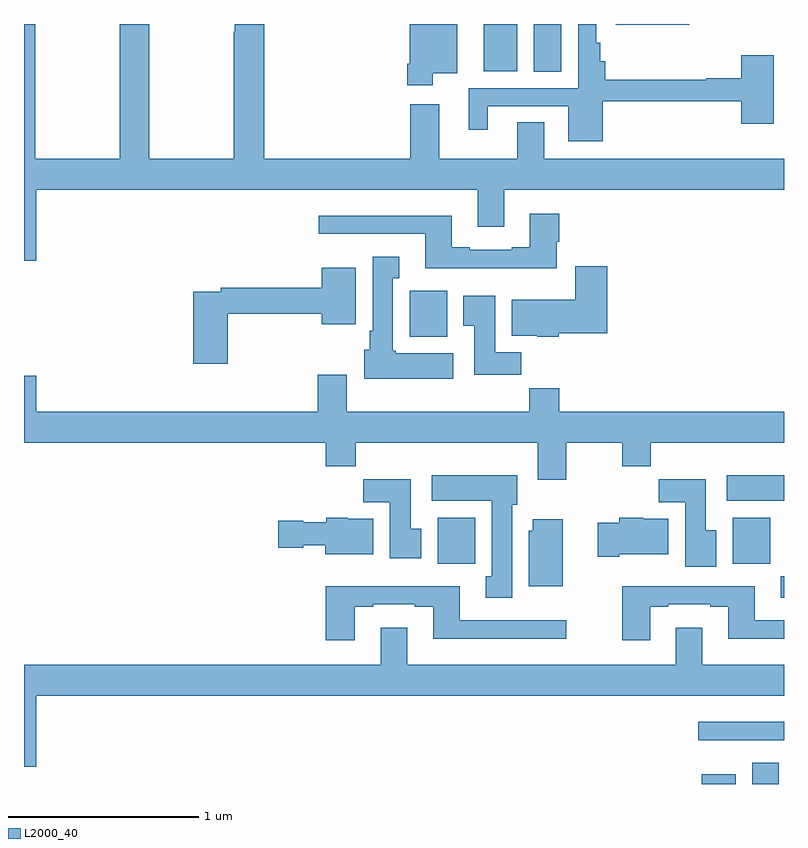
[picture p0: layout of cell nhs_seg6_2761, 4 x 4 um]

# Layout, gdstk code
import gdstk
lib = gdstk.Library(unit=1e-6, precision=1e-09)
def R(c, l, rs):  # rectangles x0, y0, x1, y1
    for r in rs: c.add(gdstk.rectangle(r[:2], r[2:], *l))
def P(c, l, *ps):  # polygons
    for p in ps: c.add(gdstk.Polygon(p, *l))
L2000_40 = (2000, 40)

nhs_seg6_2761 = lib.new_cell('nhs_seg6_2761')
R(nhs_seg6_2761, L2000_40, [(276.566,985.5,276.745,985.552), (276.833,985.5,276.973,985.612), (276.549,985.731,277,985.828), (276.983,986.481,277,986.594), (275.177,986.66,275.374,986.902), (276.731,986.66,276.928,986.902), (276.699,986.99,277,987.124), (275.03,987.854,275.227,988.096), (275.684,989.248,275.827,989.5), (275.42,989.252,275.596,989.5), (276.114,989.495,276.502,989.5)])
P(nhs_seg6_2761, L2000_40, [(273.064,988.628),(275.387,988.628),(275.387,988.434),(275.527,988.434),(275.527,988.628),(277,988.628),(277,988.792),(275.737,988.792),(275.737,988.982),(275.597,988.982),(275.597,988.792),(275.185,988.792),(275.185,989.077),(275.033,989.077),(275.033,988.792),(274.265,988.792),(274.265,989.5),(274.109,989.5),(274.109,989.459),(274.105,989.459),(274.105,988.792),(273.66,988.792),(273.66,989.5),(273.505,989.5),(273.505,988.792),(273.06,988.792),(273.06,989.5),(273,989.5),(273,988.254),(273.064,988.254)],
  [(275.152,989.24),(275.281,989.24),(275.281,989.5),(275.03,989.5),(275.03,989.29),(275.018,989.29),(275.018,989.178),(275.152,989.178)],
  [(276.046,989.094),(276.776,989.094),(276.776,988.974),(276.946,988.974),(276.946,989.222),(276.945,989.222),(276.945,989.335),(276.776,989.335),(276.776,989.215),(276.592,989.215),(276.592,989.207),(276.059,989.207),(276.059,989.305),(276.032,989.305),(276.032,989.401),(276.012,989.401),(276.012,989.5),(275.916,989.5),(275.916,989.163),(275.342,989.163),(275.342,988.944),(275.44,988.944),(275.44,989.067),(275.864,989.067),(275.864,988.883),(276.046,988.883)],
  [(275.803,988.353),(275.816,988.353),(275.816,988.501),(275.663,988.501),(275.663,988.324),(275.567,988.324),(275.567,988.311),(275.347,988.311),(275.347,988.324),(275.251,988.324),(275.251,988.492),(274.551,988.492),(274.551,988.395),(275.111,988.395),(275.111,988.214),(275.803,988.214)],
  [(275.26,987.766),(274.956,987.766),(274.956,987.78),(274.942,987.78),(274.942,988.163),(274.975,988.163),(274.975,988.276),(274.835,988.276),(274.835,987.886),(274.82,987.886),(274.82,987.786),(274.79,987.786),(274.79,987.632),(275.26,987.632)],
  [(275.814,987.872),(276.071,987.872),(276.071,988.225),(275.9,988.225),(275.9,988.048),(275.567,988.048),(275.567,987.86),(275.7,987.86),(275.7,987.854),(275.814,987.854)],
  [(274.073,987.976),(274.568,987.976),(274.568,987.92),(274.747,987.92),(274.747,988.216),(274.568,988.216),(274.568,988.112),(274.036,988.112),(274.036,988.092),(273.89,988.092),(273.89,987.711),(274.073,987.711)],
  [(275.618,987.772),(275.479,987.772),(275.479,988.069),(275.312,988.069),(275.312,987.913),(275.369,987.913),(275.369,987.654),(275.618,987.654)],
  [(275.853,987.296),(276.148,987.296),(276.148,987.172),(276.299,987.172),(276.299,987.296),(277,987.296),(277,987.46),(275.816,987.46),(275.816,987.584),(275.659,987.584),(275.659,987.46),(274.699,987.46),(274.699,987.655),(274.547,987.655),(274.547,987.46),(273.064,987.46),(273.064,987.649),(273,987.649),(273,987.296),(274.589,987.296),(274.589,987.172),(274.745,987.172),(274.745,987.296),(275.705,987.296),(275.705,987.102),(275.853,987.102)],
  [(275.569,986.97),(275.596,986.97),(275.596,987.124),(275.145,987.124),(275.145,986.99),(275.462,986.99),(275.462,986.594),(275.429,986.594),(275.429,986.481),(275.569,986.481)],
  [(275.092,986.844),(275.035,986.844),(275.035,987.103),(274.786,987.103),(274.786,986.984),(274.925,986.984),(274.925,986.688),(275.092,986.688)],
  [(276.643,986.836),(276.589,986.836),(276.589,987.103),(276.34,987.103),(276.34,986.984),(276.479,986.984),(276.479,986.643),(276.643,986.643)],
  [(276.133,986.708),(276.391,986.708),(276.391,986.896),(276.258,986.896),(276.258,986.902),(276.133,986.902),(276.133,986.874),(276.021,986.874),(276.021,986.696),(276.133,986.696)],
  [(274.837,986.896),(274.704,986.896),(274.704,986.902),(274.59,986.902),(274.59,986.878),(274.47,986.878),(274.47,986.886),(274.338,986.886),(274.338,986.744),(274.47,986.744),(274.47,986.756),(274.586,986.756),(274.586,986.708),(274.837,986.708)],
  [(275.836,986.893),(275.678,986.893),(275.678,986.832),(275.657,986.832),(275.657,986.54),(275.836,986.54)],
  [(274.741,986.433),(274.837,986.433),(274.837,986.445),(275.057,986.445),(275.057,986.433),(275.153,986.433),(275.153,986.264),(275.854,986.264),(275.854,986.361),(275.293,986.361),(275.293,986.542),(274.589,986.542),(274.589,986.256),(274.741,986.256)],
  [(276.295,986.433),(276.391,986.433),(276.391,986.445),(276.611,986.445),(276.611,986.433),(276.707,986.433),(276.707,986.264),(277,986.264),(277,986.361),(276.847,986.361),(276.847,986.541),(276.383,986.541),(276.383,986.542),(276.148,986.542),(276.148,986.256),(276.295,986.256)],
  [(273.064,985.964),(277,985.964),(277,986.128),(276.571,986.128),(276.571,986.323),(276.431,986.323),(276.431,986.128),(275.017,986.128),(275.017,986.323),(274.877,986.323),(274.877,986.128),(273,986.128),(273,985.59),(273.064,985.59)])

lib.write_gds('nhs_seg6_2761.gds')
